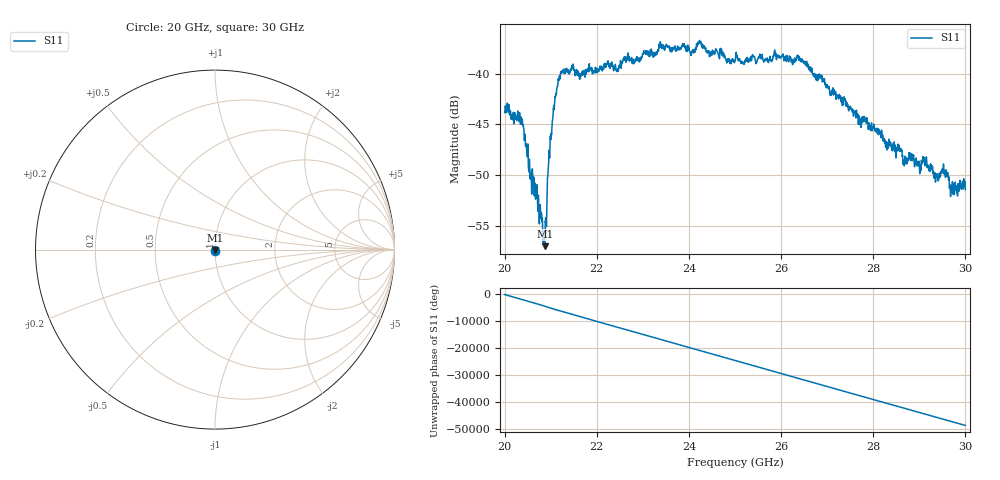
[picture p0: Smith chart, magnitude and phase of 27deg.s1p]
#  HZ  S  RI  R  50.00
! Rohde & Schwarz ZVA40 4Ports - Version 3.90 - 1145.1110k42 SN: 100403
! Date: 2023-10-03 11:45:28
! Measurement: S12
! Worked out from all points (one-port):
!   5001 points, 20 GHz to 30 GHz, reference 50 ohm
!   lowest |S11| = -57.0 dB at 20.87 GHz (marker M1), VSWR 1.00, Z = 50 - j0.138 ohm
!   |S11| at or under -10 dB: start of sweep to end of sweep
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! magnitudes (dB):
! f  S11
! 20 GHz  -43.9
! 20.37 GHz  -44.7
! 20.56 GHz  -49.9
! 20.83 GHz  -55.3
! 20.87 GHz  -57.0
! 20.9 GHz  -54.6
! 20.97 GHz  -48.1
! 21.04 GHz  -44.6
! 21.14 GHz  -41.3
! 21.25 GHz  -39.9
! 22.5 GHz  -39.2
! 23.27 GHz  -38.0
! 23.39 GHz  -37.4
! 23.75 GHz  -37.4
! 24.08 GHz  -37.8
! 24.24 GHz  -36.8
! 24.43 GHz  -37.8
! 25 GHz  -38.8
! 26.25 GHz  -39.1
! 26.51 GHz  -38.8
! 27.5 GHz  -43.2
! 28.75 GHz  -48.4
! 28.99 GHz  -48.7
! 29.11 GHz  -48.8
! 29.37 GHz  -50.1
! 29.54 GHz  -49.8
! 29.72 GHz  -50.7
! 30 GHz  -51.5
